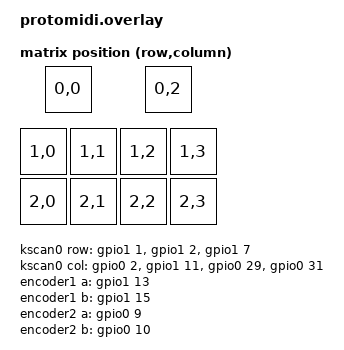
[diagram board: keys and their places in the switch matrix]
#include <dt-bindings/gpio/gpio.h>
#include <dt-bindings/zmk/matrix_transform.h>
#include <physical_layouts.dtsi>

/* protoMIDI v1.0 custom PCB: 3x4 col2row matrix, two EC11 encoders. */

/ {
    chosen {
        zmk,kscan = &kscan0;
        zmk,physical-layout = &physical_layout0;
    };

    kscan0: kscan {
        compatible = "zmk,kscan-gpio-matrix";
        diode-direction = "col2row";
        debounce-press-ms = <0>;
        debounce-release-ms = <5>;
        wakeup-source;

        col-gpios
            = <&gpio0 2 GPIO_ACTIVE_HIGH>
            , <&gpio1 11 GPIO_ACTIVE_HIGH>
            , <&gpio0 29 GPIO_ACTIVE_HIGH>
            , <&gpio0 31 GPIO_ACTIVE_HIGH>;

        row-gpios
            = <&gpio1 1 (GPIO_ACTIVE_HIGH | GPIO_PULL_DOWN)>
            , <&gpio1 2 (GPIO_ACTIVE_HIGH | GPIO_PULL_DOWN)>
            , <&gpio1 7 (GPIO_ACTIVE_HIGH | GPIO_PULL_DOWN)>;
    };

    default_transform: keymap_transform {
        compatible = "zmk,matrix-transform";
        columns = <4>;
        rows = <3>;
        map = <
        // ENC1 switch     ENC2 switch
            RC(0,0)        RC(0,2)
        // SW1             SW2             SW3             SW4
            RC(1,0)        RC(1,1)        RC(1,2)        RC(1,3)
        // SW5             SW6             SW7             SW8
            RC(2,0)        RC(2,1)        RC(2,2)        RC(2,3)
        >;
    };

    physical_layout0: physical_layout_0 {
        compatible = "zmk,physical-layout";
        display-name = "protoMIDI";
        kscan = <&kscan0>;
        transform = <&default_transform>;
        keys
            = <&key_physical_attrs 100 100  50   0 0 0 0>
            , <&key_physical_attrs 100 100 250   0 0 0 0>
            , <&key_physical_attrs 100 100   0 125 0 0 0>
            , <&key_physical_attrs 100 100 100 125 0 0 0>
            , <&key_physical_attrs 100 100 200 125 0 0 0>
            , <&key_physical_attrs 100 100 300 125 0 0 0>
            , <&key_physical_attrs 100 100   0 225 0 0 0>
            , <&key_physical_attrs 100 100 100 225 0 0 0>
            , <&key_physical_attrs 100 100 200 225 0 0 0>
            , <&key_physical_attrs 100 100 300 225 0 0 0>
            ;
    };

    encoder1: encoder_1 {
        compatible = "alps,ec11";
        a-gpios = <&gpio1 13 (GPIO_ACTIVE_HIGH | GPIO_PULL_UP)>;
        b-gpios = <&gpio1 15 (GPIO_ACTIVE_HIGH | GPIO_PULL_UP)>;
        steps = <80>;
        status = "okay";
    };

    encoder2: encoder_2 {
        compatible = "alps,ec11";
        a-gpios = <&gpio0 9 (GPIO_ACTIVE_HIGH | GPIO_PULL_UP)>;
        b-gpios = <&gpio0 10 (GPIO_ACTIVE_HIGH | GPIO_PULL_UP)>;
        steps = <80>;
        status = "okay";
    };

    sensors: sensors {
        compatible = "zmk,keymap-sensors";
        sensors = <&encoder1 &encoder2>;
        triggers-per-rotation = <20>;
    };
};

/* Each illuminated PB86 LED is wired GPIO -> resistor -> LED -> ground. */
/ {
    leds {
        compatible = "gpio-leds";

        led1: led_1 { gpios = <&gpio0 17 GPIO_ACTIVE_HIGH>; };
        led2: led_2 { gpios = <&gpio0 20 GPIO_ACTIVE_HIGH>; };
        led3: led_3 { gpios = <&gpio0 22 GPIO_ACTIVE_HIGH>; };
        led4: led_4 { gpios = <&gpio0 24 GPIO_ACTIVE_HIGH>; };
        led5: led_5 { gpios = <&gpio1 0 GPIO_ACTIVE_HIGH>; };
        led6: led_6 { gpios = <&gpio0 11 GPIO_ACTIVE_HIGH>; };
        led7: led_7 { gpios = <&gpio1 4 GPIO_ACTIVE_HIGH>; };
        led8: led_8 { gpios = <&gpio1 6 GPIO_ACTIVE_HIGH>; };
    };
};
